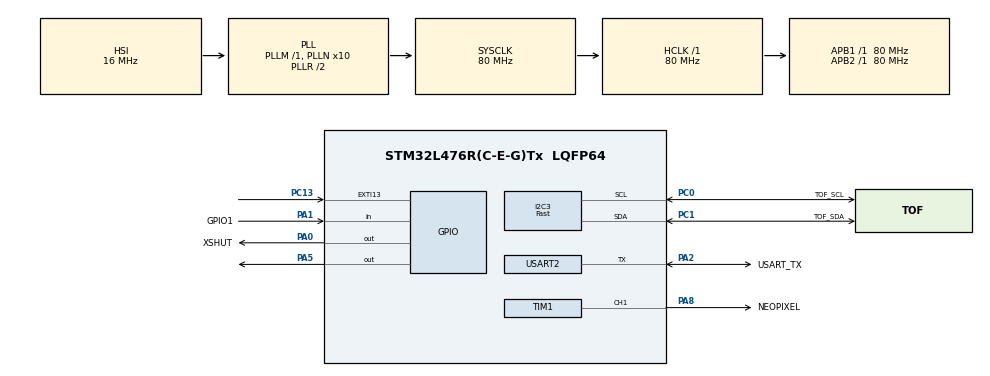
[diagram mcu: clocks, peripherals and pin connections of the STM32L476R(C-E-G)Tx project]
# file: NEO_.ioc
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Dma.Request0=TIM1_CH1
Dma.TIM1_CH1.0.Direction=DMA_MEMORY_TO_PERIPH
Dma.TIM1_CH1.0.Instance=DMA1_Channel2
Dma.TIM1_CH1.0.MemDataAlignment=DMA_MDATAALIGN_HALFWORD
Dma.TIM1_CH1.0.MemInc=DMA_MINC_ENABLE
Dma.TIM1_CH1.0.Mode=DMA_NORMAL
Dma.TIM1_CH1.0.PeriphDataAlignment=DMA_PDATAALIGN_HALFWORD
Dma.TIM1_CH1.0.PeriphInc=DMA_PINC_DISABLE
Dma.TIM1_CH1.0.Priority=DMA_PRIORITY_LOW
I2C3.CustomTiming=Disabled
I2C3.I2C_Rise_Time=120
I2C3.I2C_Speed_Mode=I2C_Fast
I2C3.Timing=0x1081143F
Mcu.Family=STM32L4
Mcu.Name=STM32L476R(C-E-G)Tx
Mcu.Package=LQFP64
NUCLEO-L476RG.BUTTON=1
NUCLEO-L476RG.LD2=true
NVIC.DMA1_Channel2_IRQn=true\:0\:0\:false\:false\:true\:false\:true\:true
NVIC.EXTI15_10_IRQn=true\:0\:0\:false\:false\:true\:false\:true\:true
NVIC.PriorityGroup=NVIC_PRIORITYGROUP_4
PA0.GPIO_Label=XSHUT
PA0.GPIO_PuPd=GPIO_NOPULL
PA0.Signal=GPIO_Output
PA1.GPIO_Label=GPIO1
PA1.GPIO_PuPd=GPIO_NOPULL
PA1.Signal=GPIO_Input
PA13\ (JTMS-SWDIO).GPIO_Label=TMS
PA13\ (JTMS-SWDIO).Signal=SYS_JTMS-SWDIO
PA14\ (JTCK-SWCLK).GPIO_Label=TCK
PA14\ (JTCK-SWCLK).Signal=SYS_JTCK-SWCLK
PA2.GPIO_Label=USART_TX
PA2.GPIO_Mode=GPIO_MODE_AF_PP
PA2.GPIO_PuPd=GPIO_NOPULL
PA2.GPIO_Speed=GPIO_SPEED_FREQ_VERY_HIGH
PA2.Mode=Half_duplex(single_wire_mode)
PA2.Signal=USART2_TX
PA3.GPIO_Label=USART_RX
PA3.GPIO_Mode=GPIO_MODE_AF_PP
PA3.GPIO_PuPd=GPIO_NOPULL
PA3.GPIO_Speed=GPIO_SPEED_FREQ_VERY_HIGH
PA3.Signal=USART2_RX
PA5.Signal=GPIO_Output
PA8.GPIO_Label=NEOPIXEL
PA8.Signal=S_TIM1_CH1
PB3\ (JTDO-TRACESWO).GPIO_Label=SWO
PB3\ (JTDO-TRACESWO).Signal=SYS_JTDO-SWO
PC0.GPIO_Label=TOF_SCL
PC0.GPIO_Pu=GPIO_PULLUP
PC0.Mode=I2C
PC0.Signal=I2C3_SCL
PC1.GPIO_Label=TOF_SDA
PC1.GPIO_Pu=GPIO_PULLUP
PC1.Mode=I2C
PC1.Signal=I2C3_SDA
PC13.Signal=GPXTI13
PC14-OSC32_IN\ (PC14).Signal=RCC_OSC32_IN
PC15-OSC32_OUT\ (PC15).Signal=RCC_OSC32_OUT
PH0-OSC_IN\ (PH0).Signal=RCC_OSC_IN
PH1-OSC_OUT\ (PH1).Signal=RCC_OSC_OUT
ProjectManager.HeapSize=0x200
ProjectManager.StackSize=0x400
ProjectManager.TargetToolchain=STM32CubeIDE
RCC.ADCFreq_Value=64000000
RCC.AHBFreq_Value=80000000
RCC.APB1Freq_Value=80000000
RCC.APB1TimFreq_Value=80000000
RCC.APB2Freq_Value=80000000
RCC.APB2TimFreq_Value=80000000
RCC.CortexFreq_Value=80000000
RCC.HCLKFreq_Value=80000000
RCC.HSE_VALUE=8000000
RCC.HSI_VALUE=16000000
RCC.LSE_VALUE=32768
RCC.MSI_VALUE=4000000
RCC.PLLN=10
RCC.PLLSourceVirtual=RCC_PLLSOURCE_HSI
RCC.PREFETCH_ENABLE=1
RCC.SYSCLKFreq_VALUE=80000000
RCC.SYSCLKSource=RCC_SYSCLKSOURCE_PLLCLK
RCC.USBFreq_Value=64000000
RCC.VCOOutputFreq_Value=160000000
SH.S_TIM1_CH1.0=TIM1_CH1,PWM Generation1 CH1
TIM1.Channel-PWM\ Generation1\ CH1=TIM_CHANNEL_1
TIM1.Period=100-1
USART2.VirtualMode-Half_duplex(single_wire_mode)=VM_ASYNC
VP_NUCLEO-L476RG_VS_BSP_COMMON.Mode=COMMON
board=NUCLEO-L476RG

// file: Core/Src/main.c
/* USER CODE BEGIN Header */
/**
 ******************************************************************************
 * @file           : main.c
 * @brief          : Main program body
 ******************************************************************************
 * @attention
 *
 * Copyright (c) 2026 STMicroelectronics.
 * All rights reserved.
 *
 * This software is licensed under terms that can be found in the LICENSE file
 * in the root directory of this software component.
 * If no LICENSE file comes with this software, it is provided AS-IS.
 *
 ******************************************************************************
 */
/* USER CODE END Header */
#include "main.h"
#include "dma.h"
#include "i2c.h"
#include "tim.h"
#include "usart.h"
#include "gpio.h"

/* USER CODE BEGIN Includes */
#include "NEO_P.h"
/* USER CODE END Includes */

void SystemClock_Config(void);

int main(void)
{

	/* MCU Configuration--------------------------------------------------------*/

	/* Reset of all peripherals, Initializes the Flash interface and the Systick. */
	HAL_Init();

	/* Configure the system clock */
	SystemClock_Config();

	/* Initialize all configured peripherals */
	MX_GPIO_Init();
	MX_DMA_Init();
	MX_I2C3_Init();
	MX_USART2_UART_Init();
	MX_TIM1_Init();
	/* USER CODE BEGIN 2 */
	NeoPixel_Init(&htim1, TIM_CHANNEL_1);
	HAL_Delay(500);
	/* USER CODE END 2 */

	/* Initialize leds */
	BSP_LED_Init(LED_GREEN);

	/* Initialize USER push-button, will be used to trigger an interrupt each time it's pressed.*/
	BSP_PB_Init(BUTTON_USER, BUTTON_MODE_EXTI);

	/* Infinite loop */
	/* USER CODE BEGIN WHILE */
	while (1)
	{
		/* ====================================================================
		       * 1. BASS PUMP (Kick Electro 128 BPM avec effet de fondu)
		       * ==================================================================== */
		      for (int beat = 0; beat < 8; beat++)
		      {
		          for (int fade = 10; fade >= 0; fade--)
		          {
		              if (beat % 2 == 0) {
		                  // Kick pair : Violet Cyberpunk
		                  NeoPixel_Fill((180 * fade) / 10, 0, (255 * fade) / 10);
		              } else {
		                  // Kick impair : Cyan Electrique
		                  NeoPixel_Fill(0, (200 * fade) / 10, (255 * fade) / 10);
		              }
		              NeoPixel_Send();
		              HAL_Delay(35);
		          }
		          HAL_Delay(80);
		      }

		      /* ====================================================================
		       * 2. BUILD-UP : DOUBLE LASER QUI ACCÉLÈRE (Cyan vs Magenta)
		       * ==================================================================== */
		      int delay_laser = 65;
		      for (int tour = 0; tour < 7; tour++)
		      {
		          for (int i = 0; i < NEOPIXEL_NUM_LEDS; i++)
		          {
		              NeoPixel_Clear();

		              // Laser 1 (Cyan) + sa traînée
		              NeoPixel_SetLED(i, 0, 255, 255);
		              NeoPixel_SetLED((i + 11) % 12, 0, 40, 40);

		              // Laser 2 opposé (Magenta) + sa traînée
		              NeoPixel_SetLED((i + 6) % 12, 255, 0, 150);
		              NeoPixel_SetLED((i + 5) % 12, 40, 0, 25);

		              NeoPixel_Send();
		              HAL_Delay(delay_laser);
		          }
		          // Accélération à chaque tour (montée électro)
		          if (delay_laser > 15) delay_laser -= 8;
		      }

		      /* ====================================================================
		       * 3. THE DROP : STROBOSCOPE ULTRA-RAPIDE (Blanc / Rouge / Bleu)
		       * ==================================================================== */
		      for (int s = 0; s < 16; s++)
		      {
		          if (s % 3 == 0)      NeoPixel_Fill(150, 150, 150); // Flash Blanc
		          else if (s % 3 == 1) NeoPixel_Fill(255, 0, 50);    // Flash Rouge/Rose
		          else                 NeoPixel_Fill(0, 50, 255);    // Flash Bleu

		          NeoPixel_Send();
		          HAL_Delay(30);

		          NeoPixel_Clear();
		          NeoPixel_Send();
		          HAL_Delay(30);
		      }

		      /* ====================================================================
		       * 4. EQUALIZER / VU-MÈTRE SYMÉTRIQUE (Gauche & Droite)
		       * ==================================================================== */
		      uint8_t peaks[8] = {3, 6, 2, 5, 6, 3, 6, 6}; // Hauteurs des basses
		      for (int p = 0; p < 8; p++)
		      {
		          // Montée du son
		          for (int lvl = 0; lvl <= peaks[p]; lvl++)
		          {
		              NeoPixel_Clear();
		              for (int i = 0; i < lvl; i++)
		              {
		                  // Vert en bas (0-1), Jaune au milieu (2-3), Rouge en haut (4-5)
		                  uint8_t r = (i < 2) ? 0   : (i < 4 ? 200 : 255);
		                  uint8_t g = (i < 2) ? 200 : (i < 4 ? 150 : 0);
		                  uint8_t b = (i < 4) ? 0   : 40;

		                  NeoPixel_SetLED(i, r, g, b);      // Côté gauche (0 à 5)
		                  NeoPixel_SetLED(11 - i, r, g, b); // Côté droit (11 à 6)
		              }
		              NeoPixel_Send();
		              HAL_Delay(20);
		          }
		          // Descente du son
		          for (int lvl = peaks[p]; lvl >= 0; lvl--)
		          {
		              NeoPixel_Clear();
		              for (int i = 0; i < lvl; i++)
		              {
		                  uint8_t r = (i < 2) ? 0   : (i < 4 ? 200 : 255);
		                  uint8_t g = (i < 2) ? 200 : (i < 4 ? 150 : 0);
		                  uint8_t b = (i < 4) ? 0   : 40;

		                  NeoPixel_SetLED(i, r, g, b);
		                  NeoPixel_SetLED(11 - i, r, g, b);
		              }
		              NeoPixel_Send();
		              HAL_Delay(25);
		          }
		      }

		      /* ====================================================================
		       * 5. REBOND ALTERNÉ (Moitié Gauche / Moitié Droite en rythme)
		       * ==================================================================== */
		      for (int bounce = 0; bounce < 8; bounce++)
		      {
		          NeoPixel_Clear();
		          if (bounce % 2 == 0)
		          {
		              // Allume les LEDs 0 à 5 en Orange/Rouge
		              for (int i = 0; i < 6; i++) NeoPixel_SetLED(i, 255, 40, 0);
		          }
		          else
		          {
		              // Allume les LEDs 6 à 11 en Bleu/Violet
		              for (int i = 6; i < 12; i++) NeoPixel_SetLED(i, 80, 0, 255);
		          }
		          NeoPixel_Send();
		          HAL_Delay(220);
		      }
		/* USER CODE END WHILE */

	}
}

void SystemClock_Config(void)
{
	RCC_OscInitTypeDef RCC_OscInitStruct = {0};
	RCC_ClkInitTypeDef RCC_ClkInitStruct = {0};

	/** Configure the main internal regulator output voltage
	 */
	if (HAL_PWREx_ControlVoltageScaling(PWR_REGULATOR_VOLTAGE_SCALE1) != HAL_OK)
	{
		Error_Handler();
	}

	/** Initializes the RCC Oscillators according to the specified parameters
	 * in the RCC_OscInitTypeDef structure.
	 */
	RCC_OscInitStruct.OscillatorType = RCC_OSCILLATORTYPE_HSI;
	RCC_OscInitStruct.HSIState = RCC_HSI_ON;
	RCC_OscInitStruct.HSICalibrationValue = RCC_HSICALIBRATION_DEFAULT;
	RCC_OscInitStruct.PLL.PLLState = RCC_PLL_ON;
	RCC_OscInitStruct.PLL.PLLSource = RCC_PLLSOURCE_HSI;
	RCC_OscInitStruct.PLL.PLLM = 1;
	RCC_OscInitStruct.PLL.PLLN = 10;
	RCC_OscInitStruct.PLL.PLLP = RCC_PLLP_DIV7;
	RCC_OscInitStruct.PLL.PLLQ = RCC_PLLQ_DIV2;
	RCC_OscInitStruct.PLL.PLLR = RCC_PLLR_DIV2;
	if (HAL_RCC_OscConfig(&RCC_OscInitStruct) != HAL_OK)
	{
		Error_Handler();
	}

	/** Initializes the CPU, AHB and APB buses clocks
	 */
	RCC_ClkInitStruct.ClockType = RCC_CLOCKTYPE_HCLK|RCC_CLOCKTYPE_SYSCLK
			|RCC_CLOCKTYPE_PCLK1|RCC_CLOCKTYPE_PCLK2;
	RCC_ClkInitStruct.SYSCLKSource = RCC_SYSCLKSOURCE_PLLCLK;
	RCC_ClkInitStruct.AHBCLKDivider = RCC_SYSCLK_DIV1;
	RCC_ClkInitStruct.APB1CLKDivider = RCC_HCLK_DIV1;
	RCC_ClkInitStruct.APB2CLKDivider = RCC_HCLK_DIV1;

	if (HAL_RCC_ClockConfig(&RCC_ClkInitStruct, FLASH_LATENCY_4) != HAL_OK)
	{
		Error_Handler();
	}
}

void Error_Handler(void)
{
	__disable_irq();
	while (1)
	{
	}
}
